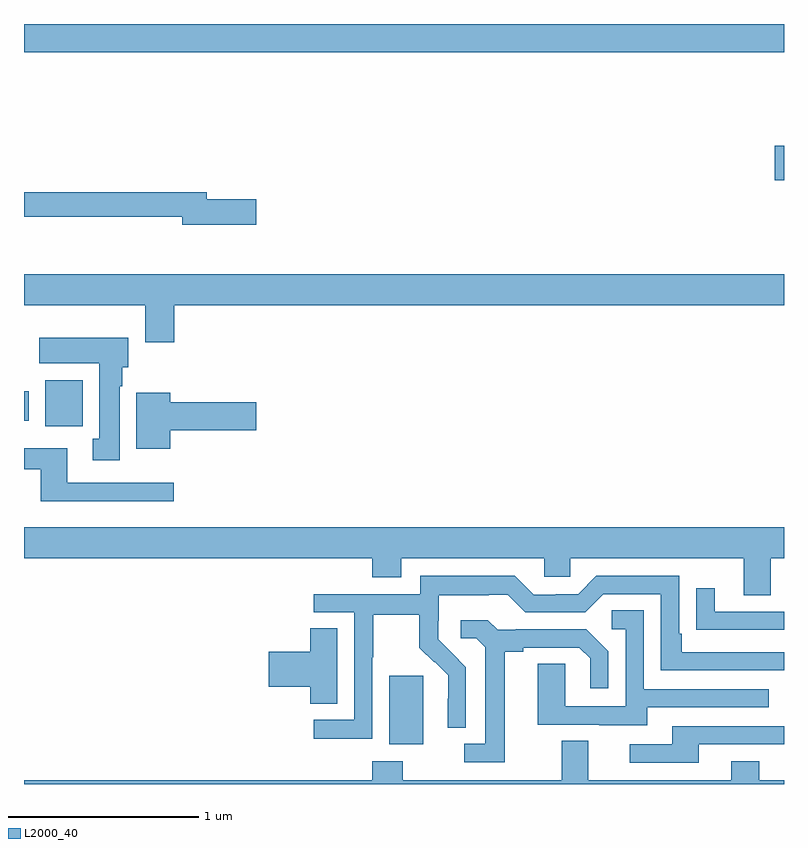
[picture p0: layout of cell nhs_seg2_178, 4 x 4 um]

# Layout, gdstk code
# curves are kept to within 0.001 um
import gdstk
lib = gdstk.Library(unit=1e-6, precision=1e-09)
def R(c, l, rs):  # rectangles x0, y0, x1, y1
    for r in rs: c.add(gdstk.rectangle(r[:2], r[2:], *l))
def P(c, l, *ps):  # polygons
    for p in ps: c.add(gdstk.Polygon(p, *l))
L2000_40 = (2000, 40)

nhs_seg2_178 = lib.new_cell('nhs_seg2_178')
R(nhs_seg2_178, L2000_40, [(120.923,628.01,121.102,628.371), (119.111,629.684,119.308,629.926), (119,629.712,119.026,629.868), (122.952,630.977,123,631.16), (119,631.652,123,631.8)])
P(nhs_seg2_178, L2000_40, [(120.223,630.878),(119.962,630.878),(119.962,630.914),(119,630.914),(119,630.786),(119.834,630.786),(119.834,630.743),(120.223,630.743)],
  [(119.792,630.32),(123,630.32),(123,630.484),(119,630.484),(119,630.32),(119.639,630.32),(119.639,630.126),(119.792,630.126)],
  [(119.503,629.894),(119.518,629.894),(119.518,629.994),(119.548,629.994),(119.548,630.148),(119.079,630.148),(119.079,630.014),(119.396,630.014),(119.396,629.618),(119.363,629.618),(119.363,629.505),(119.503,629.505)],
  [(119.77,629.663),(120.223,629.663),(120.223,629.81),(119.77,629.81),(119.77,629.86),(119.591,629.86),(119.591,629.564),(119.77,629.564)],
  [(119.788,629.385),(119.227,629.385),(119.227,629.566),(119,629.566),(119,629.457),(119.087,629.457),(119.087,629.288),(119.788,629.288)],
  [(122.929,628.988),(123,628.988),(123,629.152),(119,629.152),(119,628.988),(120.833,628.988),(120.833,628.889),(120.985,628.889),(120.985,628.988),(121.737,628.988),(121.737,628.89),(121.875,628.89),(121.875,628.988),(122.789,628.988),(122.789,628.794),(122.929,628.794)],
  [(120.834,628.468),(120.837,628.468),(120.837,628.692),(121.081,628.692),(121.081,628.517),(121.158,628.44),(121.161,628.443),(121.232,628.373),(121.232,628.25),(121.23,628.25),(121.23,628.096),(121.326,628.096),(121.326,628.414),(121.18,628.562),(121.18,628.659),(121.182,628.659),(121.182,628.793),(121.445,628.793),(121.445,628.797),(121.545,628.797),(121.638,628.704),(121.953,628.704),(122.049,628.8),(122.352,628.8),(122.352,628.398),(123,628.398),(123,628.494),(122.461,628.494),(122.461,628.591),(122.448,628.591),(122.448,628.896),(122.013,628.896),(121.917,628.8),(121.799,628.8),(121.799,628.797),(121.683,628.797),(121.583,628.897),(121.086,628.897),(121.086,628.8),(120.525,628.8),(120.525,628.704),(120.738,628.704),(120.738,628.137),(120.525,628.137),(120.525,628.039),(120.834,628.039)],
  [(123,628.707),(122.635,628.707),(122.635,628.831),(122.539,628.831),(122.539,628.612),(122.641,628.612),(122.641,628.611),(123,628.611)],
  [(122.281,628.203),(122.921,628.203),(122.921,628.299),(122.262,628.299),(122.262,628.715),(122.094,628.715),(122.094,628.614),(122.166,628.614),(122.166,628.209),(121.848,628.209),(121.848,628.433),(121.703,628.433),(121.703,628.113),(122.027,628.113),(122.027,628.109),(122.281,628.109)],
  [(121.531,628.496),(121.627,628.496),(121.627,628.518),(121.922,628.518),(121.979,628.461),(121.979,628.305),(122.076,628.305),(122.076,628.498),(121.96,628.614),(121.588,628.614),(121.588,628.611),(121.494,628.611),(121.442,628.663),(121.299,628.663),(121.299,628.566),(121.38,628.566),(121.427,628.519),(121.427,628.011),(121.317,628.011),(121.317,627.915),(121.531,627.915)],
  [(120.649,628.619),(120.506,628.619),(120.506,628.496),(120.288,628.496),(120.288,628.313),(120.506,628.313),(120.506,628.222),(120.649,628.222)],
  [(122.551,628.008),(123,628.008),(123,628.104),(122.411,628.104),(122.411,628.008),(122.187,628.008),(122.187,627.912),(122.551,627.912)],
  [(123,627.82),(122.871,627.82),(122.871,627.919),(122.723,627.919),(122.723,627.82),(121.969,627.82),(121.969,628.028),(121.829,628.028),(121.829,627.82),(120.993,627.82),(120.993,627.919),(120.833,627.919),(120.833,627.82),(119,627.82),(119,627.8),(123,627.8)])

lib.write_gds('nhs_seg2_178.gds')
